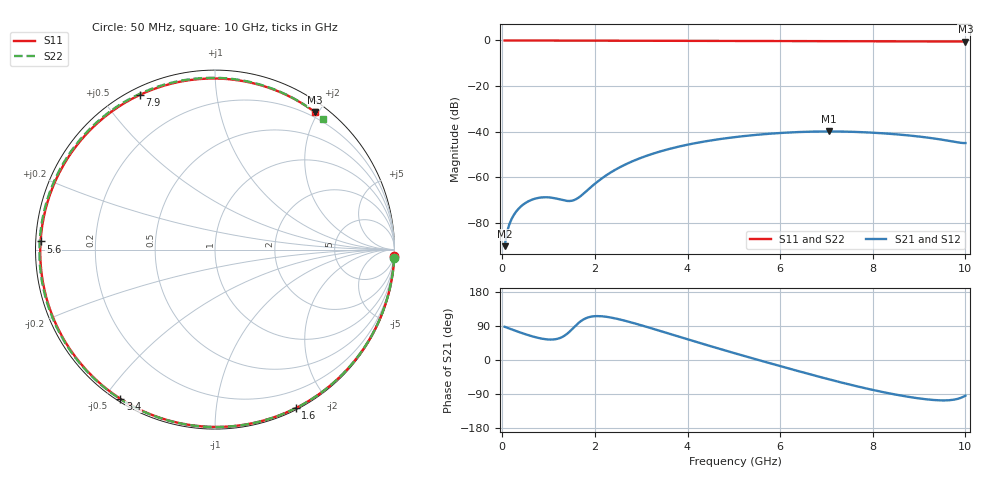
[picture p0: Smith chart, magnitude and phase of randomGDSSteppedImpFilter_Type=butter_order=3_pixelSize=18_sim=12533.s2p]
! freq	dB(S11)	phase(S11)	dB(S12)	phase(S12)
!  dB(S21)	phase(S21)	dB(S22)	phase(S22)
!S-par simulation data
#  GHz  S  DB  R 50
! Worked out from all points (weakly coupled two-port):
!   200 points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, 50 MHz to 10 GHz, reference 50 ohm
!   highest |S21| = -39.93 dB at 7.05 GHz (marker M1); lowest = -90.3 dB at 50 MHz (marker M2)
!   lowest |S11| = -0.5 dB at 10 GHz (marker M3), VSWR 36.65, Z = 6.64 + j98.1 ohm
!   |S11| at or under -10 dB: nowhere
!   |S22| runs from -0.5 to 0.0 dB; largest |S21 - S12| = 0
!   S11 on the Smith chart (normalised r, x): 50 MHz: 0, -55; 1.6 GHz: 0.02, -1.63; 3.4 GHz: 0.01, -0.55; 5.6 GHz: 0.01, +0.02; 7.9 GHz: 0.03, +0.63; 10 GHz: 0.13, +1.96
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0.05  -0.00 -2.1  -90.26 87.7  -90.26 87.7  -0.00 -2.6
0.15  -0.01 -6.2  -80.81 83.1  -80.81 83.1  -0.01 -7.9
0.35  -0.02 -14.3  -73.86 74.2  -73.86 74.2  -0.03 -18.2
0.65  -0.03 -26.4  -69.80 62.3  -69.80 62.3  -0.04 -33.5
0.9  -0.05 -36.3  -68.81 55.4  -68.81 55.4  -0.06 -45.8
1.15  -0.06 -46.0  -69.30 54.9  -69.30 54.9  -0.07 -57.7
1.45  -0.07 -57.4  -70.45 74.5  -70.45 74.5  -0.08 -71.2
1.6  -0.08 -63.0  -69.57 92.6  -69.57 92.6  -0.09 -77.6
1.75  -0.08 -68.4  -67.30 106.8  -67.30 106.8  -0.09 -83.9
2.1  -0.10 -80.8  -61.27 115.7  -61.27 115.7  -0.11 -97.7
2.45  -0.11 -92.6  -56.61 109.5  -56.61 109.5  -0.12 -110.5
2.9  -0.12 -107.1  -52.26 95.2  -52.26 95.2  -0.13 -125.7
3.4  -0.14 -122.4  -48.76 77.1  -48.76 77.1  -0.14 -141.1
4.2  -0.17 -145.3  -44.94 47.3  -44.94 47.3  -0.17 -163.5
5.05  -0.21 -168.2  -42.35 16.8  -42.35 16.8  -0.20 174.8
5.6  -0.24 177.3  -41.21 -2.4  -41.21 -2.4  -0.22 161.3
6.7  -0.30 148.5  -40.00 -39.5  -40.00 -39.5  -0.28 134.9
7.05  -0.32 139.1  -39.93 -50.8  -39.93 -50.8  -0.30 126.4
7.9  -0.37 115.8  -40.36 -76.3  -40.36 -76.3  -0.34 105.4
8.35  -0.39 103.0  -40.93 -87.9  -40.93 -87.9  -0.37 94.0
9.15  -0.43 79.6  -42.53 -103.6  -42.53 -103.6  -0.42 73.1
10  -0.47 53.8  -45.01 -94.1  -45.01 -94.1  -0.49 50.3
